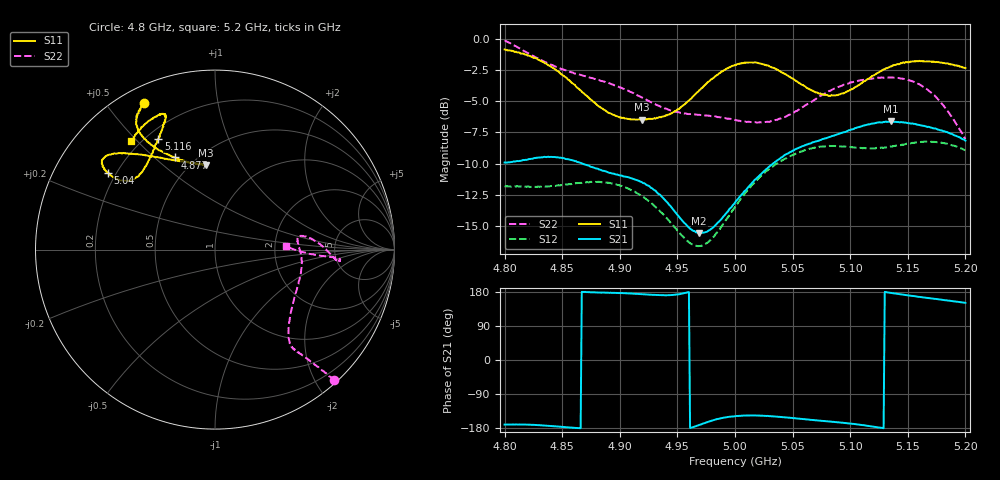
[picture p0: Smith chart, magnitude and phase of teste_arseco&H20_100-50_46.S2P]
! Network Analyzer HP8722D
! Hewlett-Packard
! Data name: Linha & Wilkinson
! Saver's name: Rodrigo Anjos
! Comments: Teste da utilização de aquisição
! continua pelo VNA HP8722D
! Time and date: 6/5/2025 12:57
!  Frequency  S11  S21  S12  S22
# HZ  S  MA R 50
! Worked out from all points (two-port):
!   401 points, 4.8 GHz to 5.2 GHz, reference 50 ohm
!   highest |S21| = -6.63 dB at 5.135 GHz (marker M1); lowest = -15.6 dB at 4.969 GHz (marker M2)
!   |S21| within 3 dB of the highest: 4.822 GHz to 4.853 GHz (30.71 MHz wide, 0.635 % of centre); 5.038 GHz to end of sweep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
!   lowest |S11| = -6.5 dB at 4.919 GHz (marker M3), VSWR 2.80, Z = 29.2 + j35.5 ohm
!   |S11| at or under -10 dB: nowhere
!   |S22| runs from -8.1 to -0.1 dB; largest |S21 - S12| = 0.83
!   S11 on the Smith chart (normalised r, x): 4.8 GHz: 0.07, +0.62; 4.877 GHz: 0.39, +0.58; 5.04 GHz: 0.17, +0.31; 5.116 GHz: 0.25, +0.58; 5.2 GHz: 0.17, +0.48
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4.8e9  0.9052 115.8  0.3195 -170.5  0.2563 -85.9  0.9835 -47.4
4.821e9  0.8557 120.7  0.3301 -170.6  0.256 -81.1  0.8717 -48.6
4.835e9  0.7973 122.6  0.3367 -172.9  0.2558 -76.4  0.8065 -49.6
4.867e9  0.614 117.9  0.3172 179.8  0.2651 -67.2  0.7142 -51.5
4.877e9  0.56 113.5  0.3053 178.5  0.2674 -66.2  0.6939 -51.8
4.901e9  0.4835 100.9  0.2835 176.7  0.2576 -66.6  0.6372 -49.9
4.919e9  0.474 96.3  0.2671 173.9  0.2343 -68.5  0.5822 -44.8
4.934e9  0.4851 99.2  0.2386 171.0  0.2066 -69.2  0.5386 -37.4
4.95e9  0.5206 109.5  0.1972 172.9  0.1706 -65.3  0.5082 -26.9
4.969e9  0.6212 123.4  0.1666 -171.4  0.148 -47.6  0.4959 -15.1
4.98e9  0.69 129.6  0.1742 -160.0  0.1588 -34.9  0.4897 -9.2
5e9  0.7841 137.2  0.2211 -148.5  0.2126 -21.3  0.4728 -0.2
5.019e9  0.8014 141.9  0.2769 -146.7  0.2716 -18.3  0.4612 6.0
5.04e9  0.736 144.4  0.3346 -150.4  0.3236 -18.2  0.4796 9.1
5.067e9  0.6209 142.1  0.3842 -158.1  0.3649 -20.4  0.5609 4.7
5.088e9  0.5939 133.1  0.4128 -164.0  0.3711 -23.6  0.6364 -1.7
5.116e9  0.6921 117.2  0.4541 -174.3  0.3639 -26.7  0.6893 -5.3
5.134e9  0.7684 111.1  0.4646 177.8  0.3689 -28.6  0.6989 -4.7
5.135e9  0.7743 111.2  0.4663 177.3  0.3702 -28.6  0.6995 -4.7
5.162e9  0.8137 112.9  0.4496 165.7  0.3866 -35.2  0.6484 -3.7
5.18e9  0.8011 118.9  0.4282 158.8  0.3832 -40.8  0.5472 -2.7
5.2e9  0.7637 127.6  0.3908 150.8  0.3578 -46.2  0.3957 2.6
